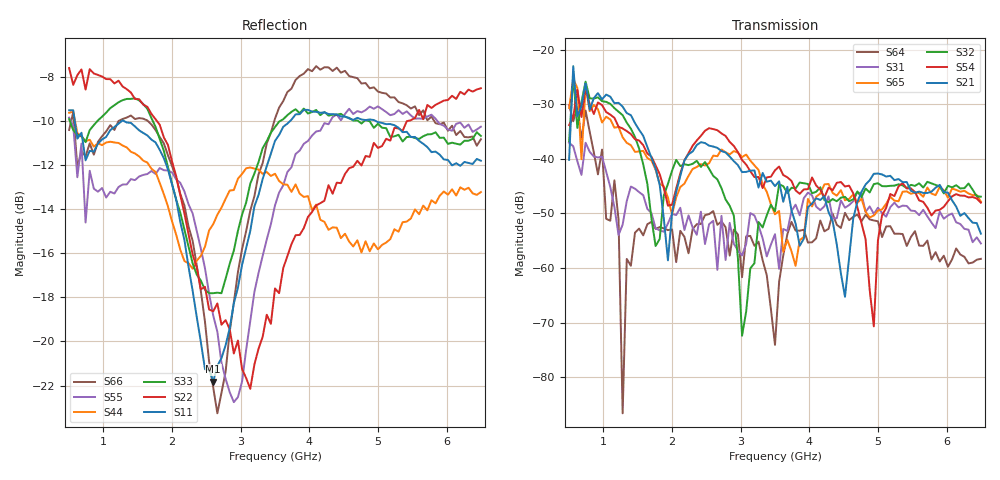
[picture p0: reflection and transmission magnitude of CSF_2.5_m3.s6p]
!Keysight Technologies,M9804A,MY58100912,A.14.10.03
!Date: Thursday, April 27, 2023 10:28:33
!Correction: S11(C  6-Port  )
!S12(C  6-Port  )
!S13(C  6-Port  )
!S14(C  6-Port  )
!S15(C  6-Port  )
!S16(C  6-Port  )
!S21(C  6-Port  )
!S22(C  6-Port  )
!S23(C  6-Port  )
!S24(C  6-Port  )
!S25(C  6-Port  )
!S26(C  6-Port  )
!S31(C  6-Port  )
!S32(C  6-Port  )
!S33(C  6-Port  )
!S34(C  6-Port  )
!S35(C  6-Port  )
!S36(C  6-Port  )
!S41(C  6-Port  )
!S42(C  6-Port  )
!S43(C  6-Port  )
!S44(C  6-Port  )
!S45(C  6-Port  )
!S46(C  6-Port  )
!S51(C  6-Port  )
!S52(C  6-Port  )
!S53(C  6-Port  )
!S54(C  6-Port  )
!S55(C  6-Port  )
!S56(C  6-Port  )
!S61(C  6-Port  )
!S62(C  6-Port  )
!S63(C  6-Port  )
!S64(C  6-Port  )
!S65(C  6-Port  )
!S66(C  6-Port  )
!S6P File: Measurement: :
# Hz S  RI  R 50
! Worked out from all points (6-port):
!   101 points, 500 MHz to 6.5 GHz, reference 50 ohm
!   strongest paths, dB at 500 MHz, 2 GHz, 3.5 GHz, 5 GHz, 6.5 GHz:
!     S21: -40.2, -49.8, -45.0, -42.7, -53.7
!     S54: -33.8, -48.4, -42.1, -54.9, -48.0
!     S32: -36.8, -42.2, -49.6, -44.5, -46.9
!     S65: -30.7, -50.2, -50.2, -49.5, -47.8
!     S31: -37.0, -50.1, -53.8, -48.9, -55.5
!     S64: -30.2, -52.9, -74.1, -51.4, -58.3
!   lowest |S11| = -21.8 dB at 2.6 GHz (marker M1), VSWR 1.18, Z = 42.7 + j1.93 ohm
!   |S11| at or under -10 dB: 582.5 MHz to 1.271 GHz (688.2 MHz wide, 74.3 % of centre); 1.295 GHz to 3.722 GHz (2.427 GHz wide, 96.8 % of centre); 4.965 GHz to end of sweep
